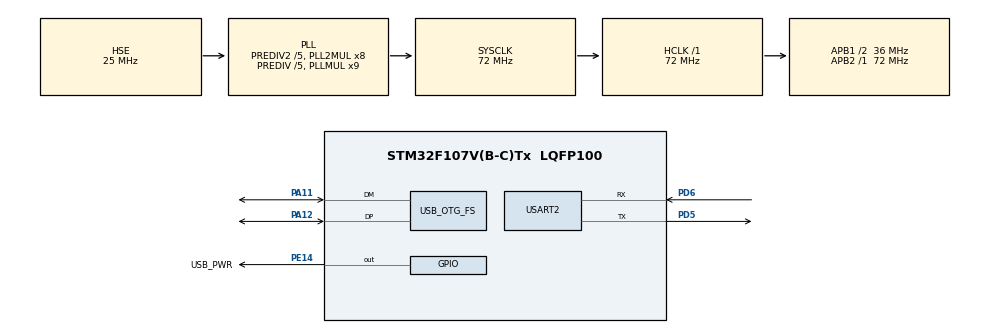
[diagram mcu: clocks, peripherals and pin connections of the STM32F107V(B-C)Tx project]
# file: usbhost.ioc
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Mcu.Family=STM32F1
Mcu.Name=STM32F107V(B-C)Tx
Mcu.Package=LQFP100
NVIC.OTG_FS_IRQn=true\:0\:0\:false\:false\:true\:false\:true
NVIC.PriorityGroup=NVIC_PRIORITYGROUP_4
OSC_IN.Mode=HSE-External-Oscillator
OSC_IN.Signal=RCC_OSC_IN
OSC_OUT.Mode=HSE-External-Oscillator
OSC_OUT.Signal=RCC_OSC_OUT
PA11.Mode=Host_Only
PA11.Signal=USB_OTG_FS_DM
PA12.Mode=Host_Only
PA12.Signal=USB_OTG_FS_DP
PA13.Mode=Serial_Wire
PA13.Signal=SYS_JTMS-SWDIO
PA14.Mode=Serial_Wire
PA14.Signal=SYS_JTCK-SWCLK
PC14-OSC32_IN.Mode=LSE-External-Oscillator
PC14-OSC32_IN.Signal=RCC_OSC32_IN
PC15-OSC32_OUT.Mode=LSE-External-Oscillator
PC15-OSC32_OUT.Signal=RCC_OSC32_OUT
PD5.Mode=Asynchronous
PD5.Signal=USART2_TX
PD6.Mode=Asynchronous
PD6.Signal=USART2_RX
PE14.GPIO_Label=USB_PWR
PE14.PinState=GPIO_PIN_SET
PE14.Signal=GPIO_Output
ProjectManager.HeapSize=0x2000
ProjectManager.StackSize=0x4000
ProjectManager.TargetToolchain=MDK-ARM V5
RCC.AHBFreq_Value=72000000
RCC.APB1CLKDivider=RCC_HCLK_DIV2
RCC.APB1Freq_Value=36000000
RCC.APB1TimFreq_Value=72000000
RCC.APB2Freq_Value=72000000
RCC.APB2TimFreq_Value=72000000
RCC.HCLKFreq_Value=72000000
RCC.HSEDivPLL=RCC_HSE_PREDIV_DIV5
RCC.HSE_VALUE=25000000
RCC.PLLMUL=RCC_PLL_MUL9
RCC.Prediv1Source=RCC_PREDIV1_SOURCE_PLL2
RCC.Prediv2=RCC_HSE_PREDIV2_DIV5
RCC.SYSCLKFreq_VALUE=72000000
RCC.SYSCLKSource=RCC_SYSCLKSOURCE_PLLCLK
RCC.USBFreq_Value=48000000
USART2.VirtualMode=VM_ASYNC
USB_HOST.USBH_HandleTypeDef=hUsbHostFS
USB_HOST.VirtualModeFS=Msc
USB_OTG_FS.VirtualMode=Host_Only
VP_FATFS_VS_USB.Mode=USB
VP_USB_HOST_VS_USB_HOST_MSC_FS.Mode=MSC_FS
board=Host_Fatfs_Cube

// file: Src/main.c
/* USER CODE BEGIN Header */
/**
  ******************************************************************************
  * @file           : main.c
  * @brief          : Main program body
  ******************************************************************************
  * @attention
  *
  * <h2><center>&copy; Copyright (c) 2019 STMicroelectronics.
  * All rights reserved.</center></h2>
  *
  * This software component is licensed by ST under BSD 3-Clause license,
  * the "License"; You may not use this file except in compliance with the
  * License. You may obtain a copy of the License at:
  *                        opensource.org/licenses/BSD-3-Clause
  *
  ******************************************************************************
  */
/* USER CODE END Header */

#include "main.h"
#include "fatfs.h"
#include "usb_host.h"

/* USER CODE BEGIN Includes */
#include "stdio.h"
/* USER CODE END Includes */

UART_HandleTypeDef huart2;

void SystemClock_Config(void);
static void MX_GPIO_Init(void);
static void MX_USART2_UART_Init(void);
void MX_USB_HOST_Process(void);

/* USER CODE BEGIN PFP */
FRESULT Explore_Disk(char *path, uint8_t recu_level);
/* USER CODE END PFP */

/* USER CODE BEGIN 0 */
struct __FILE { int handle; /* Add whatever you need here */ };
FILE __stdout;
FILE __stdin;

int fputc(int c, FILE *f) {
  return (HAL_UART_Transmit(&huart2,( uint8_t * )&c,1,1000));
}

int fgetc(FILE *f) {
	uint8_t c;
	HAL_UART_Receive(&huart2,&c,1,0xffff);
	return c;
}

int ferror(FILE *f) {
  /* Your implementation of ferror */
  return EOF;
}

void _ttywrch(int c) {
  HAL_UART_Transmit(&huart2,( uint8_t * )&c,1,1000);
}

extern USBH_HandleTypeDef hUsbHostFS;

/* USER CODE END 0 */

int main(void)
{
  /* USER CODE BEGIN 1 */
  FRESULT res;
	char str[100];
	char num = 0;
  /* USER CODE END 1 */

  /* MCU Configuration--------------------------------------------------------*/

  /* Reset of all peripherals, Initializes the Flash interface and the Systick. */
  HAL_Init();

  /* Configure the system clock */
  SystemClock_Config();

  /* Initialize all configured peripherals */
  MX_GPIO_Init();
  MX_USB_HOST_Init();
  MX_FATFS_Init();
  MX_USART2_UART_Init();
  /* USER CODE BEGIN 2 */
  printf("salam");

  res = f_mount(&USBHFatFS, (TCHAR const*)USBHPath, 0);
	while(!USBH_MSC_IsReady(&hUsbHostFS))
	{
		MX_USB_HOST_Process();
	}

	Explore_Disk("0:/", 1);
  /* USER CODE END 2 */

  /* Infinite loop */
  while (1)
  {
    MX_USB_HOST_Process();

    /* USER CODE BEGIN 3 */
        res = f_open(&USBHFile , "test.txt" , FA_OPEN_ALWAYS | FA_WRITE) ;
        if(res == FR_OK)
        {
            f_lseek(&USBHFile, f_size(&USBHFile));
            sprintf(str , "\r\nnumber = %d" , num++);
            f_printf(&USBHFile,str);
            f_close(&USBHFile);
            printf("file print %d\r\n",num);
        }
    HAL_Delay(100);
  }
  /* USER CODE END 3 */
}

void SystemClock_Config(void)
{
  RCC_OscInitTypeDef RCC_OscInitStruct = {0};
  RCC_ClkInitTypeDef RCC_ClkInitStruct = {0};
  RCC_PeriphCLKInitTypeDef PeriphClkInit = {0};

  /** Initializes the CPU, AHB and APB busses clocks
  */
  RCC_OscInitStruct.OscillatorType = RCC_OSCILLATORTYPE_HSE;
  RCC_OscInitStruct.HSEState = RCC_HSE_ON;
  RCC_OscInitStruct.HSEPredivValue = RCC_HSE_PREDIV_DIV5;
  RCC_OscInitStruct.HSIState = RCC_HSI_ON;
  RCC_OscInitStruct.Prediv1Source = RCC_PREDIV1_SOURCE_PLL2;
  RCC_OscInitStruct.PLL.PLLState = RCC_PLL_ON;
  RCC_OscInitStruct.PLL.PLLSource = RCC_PLLSOURCE_HSE;
  RCC_OscInitStruct.PLL.PLLMUL = RCC_PLL_MUL9;
  RCC_OscInitStruct.PLL2.PLL2State = RCC_PLL2_ON;
  RCC_OscInitStruct.PLL2.PLL2MUL = RCC_PLL2_MUL8;
  RCC_OscInitStruct.PLL2.HSEPrediv2Value = RCC_HSE_PREDIV2_DIV5;
  if (HAL_RCC_OscConfig(&RCC_OscInitStruct) != HAL_OK)
  {
    Error_Handler();
  }
  /** Initializes the CPU, AHB and APB busses clocks
  */
  RCC_ClkInitStruct.ClockType = RCC_CLOCKTYPE_HCLK|RCC_CLOCKTYPE_SYSCLK
                              |RCC_CLOCKTYPE_PCLK1|RCC_CLOCKTYPE_PCLK2;
  RCC_ClkInitStruct.SYSCLKSource = RCC_SYSCLKSOURCE_PLLCLK;
  RCC_ClkInitStruct.AHBCLKDivider = RCC_SYSCLK_DIV1;
  RCC_ClkInitStruct.APB1CLKDivider = RCC_HCLK_DIV2;
  RCC_ClkInitStruct.APB2CLKDivider = RCC_HCLK_DIV1;

  if (HAL_RCC_ClockConfig(&RCC_ClkInitStruct, FLASH_LATENCY_2) != HAL_OK)
  {
    Error_Handler();
  }
  PeriphClkInit.PeriphClockSelection = RCC_PERIPHCLK_USB;
  PeriphClkInit.UsbClockSelection = RCC_USBCLKSOURCE_PLL_DIV3;
  if (HAL_RCCEx_PeriphCLKConfig(&PeriphClkInit) != HAL_OK)
  {
    Error_Handler();
  }
  /** Configure the Systick interrupt time
  */
  __HAL_RCC_PLLI2S_ENABLE();
}

static void MX_USART2_UART_Init(void)
{

  huart2.Instance = USART2;
  huart2.Init.BaudRate = 115200;
  huart2.Init.WordLength = UART_WORDLENGTH_8B;
  huart2.Init.StopBits = UART_STOPBITS_1;
  huart2.Init.Parity = UART_PARITY_NONE;
  huart2.Init.Mode = UART_MODE_TX_RX;
  huart2.Init.HwFlowCtl = UART_HWCONTROL_NONE;
  huart2.Init.OverSampling = UART_OVERSAMPLING_16;
  if (HAL_UART_Init(&huart2) != HAL_OK)
  {
    Error_Handler();
  }

}

static void MX_GPIO_Init(void)
{
  GPIO_InitTypeDef GPIO_InitStruct = {0};

  /* GPIO Ports Clock Enable */
  __HAL_RCC_GPIOC_CLK_ENABLE();
  __HAL_RCC_GPIOE_CLK_ENABLE();
  __HAL_RCC_GPIOA_CLK_ENABLE();
  __HAL_RCC_GPIOD_CLK_ENABLE();

  /*Configure GPIO pin Output Level */
  HAL_GPIO_WritePin(USB_PWR_GPIO_Port, USB_PWR_Pin, GPIO_PIN_SET);

  /*Configure GPIO pin : USB_PWR_Pin */
  GPIO_InitStruct.Pin = USB_PWR_Pin;
  GPIO_InitStruct.Mode = GPIO_MODE_OUTPUT_PP;
  GPIO_InitStruct.Pull = GPIO_NOPULL;
  GPIO_InitStruct.Speed = GPIO_SPEED_FREQ_LOW;
  HAL_GPIO_Init(USB_PWR_GPIO_Port, &GPIO_InitStruct);

}

void Error_Handler(void)
{
}

/************************ (C) COPYRIGHT STMicroelectronics *****END OF FILE****/
